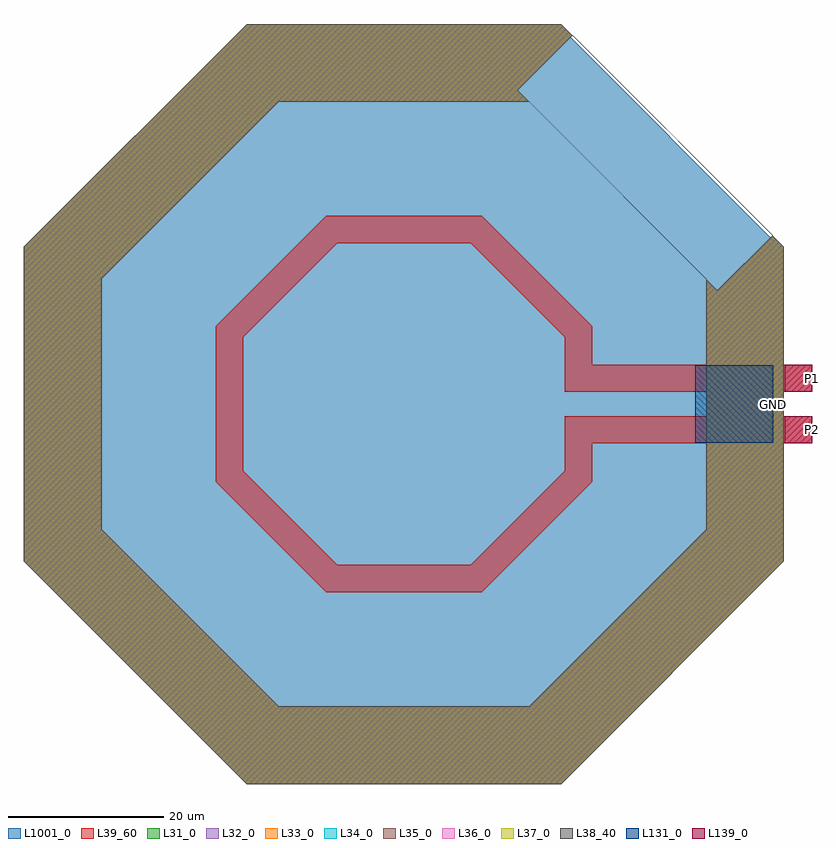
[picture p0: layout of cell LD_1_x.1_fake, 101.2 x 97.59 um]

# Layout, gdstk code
import gdstk
lib = gdstk.Library(unit=1e-6, precision=1e-09)
def R(c, l, rs):  # rectangles x0, y0, x1, y1
    for r in rs: c.add(gdstk.rectangle(r[:2], r[2:], *l))
def P(c, l, *ps):  # polygons
    for p in ps: c.add(gdstk.Polygon(p, *l))
L31_0 = (31, 0)
L32_0 = (32, 0)
L33_0 = (33, 0)
L34_0 = (34, 0)
L35_0 = (35, 0)
L36_0 = (36, 0)
L37_0 = (37, 0)
L38_40 = (38, 40)
L39_60 = (39, 60)
L131_0 = (131, 0)
L139_0 = (139, 0)
L1001_0 = (1001, 0)

ld_1_x_1_fake = lib.new_cell('LD_1_x.1_fake')
P(ld_1_x_1_fake, L31_0, [(40.26,14.605),(47.331,21.676),(20.212,48.796),(-20.212,48.796),(-48.796,20.212),(-48.796,-20.212),(-20.212,-48.796),(20.212,-48.796),(48.796,-20.212),(48.796,20.212),(21.676,47.331),(14.605,40.26),(38.796,16.07),(38.796,-16.07),(16.07,-38.796),(-16.07,-38.796),(-38.796,-16.07),(-38.796,16.07),(-16.07,38.796),(16.07,38.796)])
P(ld_1_x_1_fake, L32_0, [(40.26,14.605),(47.331,21.676),(20.212,48.796),(-20.212,48.796),(-48.796,20.212),(-48.796,-20.212),(-20.212,-48.796),(20.212,-48.796),(48.796,-20.212),(48.796,20.212),(21.676,47.331),(14.605,40.26),(38.796,16.07),(38.796,-16.07),(16.07,-38.796),(-16.07,-38.796),(-38.796,-16.07),(-38.796,16.07),(-16.07,38.796),(16.07,38.796)])
P(ld_1_x_1_fake, L33_0, [(40.26,14.605),(47.331,21.676),(20.212,48.796),(-20.212,48.796),(-48.796,20.212),(-48.796,-20.212),(-20.212,-48.796),(20.212,-48.796),(48.796,-20.212),(48.796,20.212),(21.676,47.331),(14.605,40.26),(38.796,16.07),(38.796,-16.07),(16.07,-38.796),(-16.07,-38.796),(-38.796,-16.07),(-38.796,16.07),(-16.07,38.796),(16.07,38.796)])
P(ld_1_x_1_fake, L34_0, [(40.26,14.605),(47.331,21.676),(20.212,48.796),(-20.212,48.796),(-48.796,20.212),(-48.796,-20.212),(-20.212,-48.796),(20.212,-48.796),(48.796,-20.212),(48.796,20.212),(21.676,47.331),(14.605,40.26),(38.796,16.07),(38.796,-16.07),(16.07,-38.796),(-16.07,-38.796),(-38.796,-16.07),(-38.796,16.07),(-16.07,38.796),(16.07,38.796)])
P(ld_1_x_1_fake, L35_0, [(40.26,14.605),(47.331,21.676),(20.212,48.796),(-20.212,48.796),(-48.796,20.212),(-48.796,-20.212),(-20.212,-48.796),(20.212,-48.796),(48.796,-20.212),(48.796,20.212),(21.676,47.331),(14.605,40.26),(38.796,16.07),(38.796,-16.07),(16.07,-38.796),(-16.07,-38.796),(-38.796,-16.07),(-38.796,16.07),(-16.07,38.796),(16.07,38.796)])
P(ld_1_x_1_fake, L36_0, [(40.26,14.605),(47.331,21.676),(20.212,48.796),(-20.212,48.796),(-48.796,20.212),(-48.796,-20.212),(-20.212,-48.796),(20.212,-48.796),(48.796,-20.212),(48.796,20.212),(21.676,47.331),(14.605,40.26),(38.796,16.07),(38.796,-16.07),(16.07,-38.796),(-16.07,-38.796),(-38.796,-16.07),(-38.796,16.07),(-16.07,38.796),(16.07,38.796)])
P(ld_1_x_1_fake, L37_0, [(40.26,14.605),(47.331,21.676),(20.212,48.796),(-20.212,48.796),(-48.796,20.212),(-48.796,-20.212),(-20.212,-48.796),(20.212,-48.796),(48.796,-20.212),(48.796,20.212),(21.676,47.331),(14.605,40.26),(38.796,16.07),(38.796,-16.07),(16.07,-38.796),(-16.07,-38.796),(-38.796,-16.07),(-38.796,16.07),(-16.07,38.796),(16.07,38.796)])
P(ld_1_x_1_fake, L38_40, [(40.26,14.605),(47.331,21.676),(20.212,48.796),(-20.212,48.796),(-48.796,20.212),(-48.796,-20.212),(-20.212,-48.796),(20.212,-48.796),(48.796,-20.212),(48.796,20.212),(21.676,47.331),(14.605,40.26),(38.796,16.07),(38.796,-16.07),(16.07,-38.796),(-16.07,-38.796),(-38.796,-16.07),(-38.796,16.07),(-16.07,38.796),(16.07,38.796)])
R(ld_1_x_1_fake, L39_60, [(20.655,-5.06,52.405,-1.56), (20.655,1.56,52.405,5.06)])
P(ld_1_x_1_fake, L39_60, [(20.655,3.31),(24.155,3.31),(24.155,10.005),(10.005,24.155),(-10.005,24.155),(-24.155,10.005),(-24.155,-10.005),(-10.005,-24.155),(10.005,-24.155),(24.155,-10.005),(24.155,-3.31),(20.655,-3.31),(20.655,-8.555),(8.555,-20.655),(-8.555,-20.655),(-20.655,-8.555),(-20.655,8.555),(-8.555,20.655),(8.555,20.655),(20.655,8.555)],
  [(40.26,14.605),(47.331,21.676),(20.212,48.796),(-20.212,48.796),(-48.796,20.212),(-48.796,-20.212),(-20.212,-48.796),(20.212,-48.796),(48.796,-20.212),(48.796,20.212),(21.676,47.331),(14.605,40.26),(38.796,16.07),(38.796,-16.07),(16.07,-38.796),(-16.07,-38.796),(-38.796,-16.07),(-38.796,16.07),(-16.07,38.796),(16.07,38.796)])
R(ld_1_x_1_fake, L131_0, [(37.405,-5,47.405,5)])
R(ld_1_x_1_fake, L139_0, [(48.905,-5.06,52.405,-1.56), (48.905,1.56,52.405,5.06)])
P(ld_1_x_1_fake, L1001_0, [(48.415,20.054),(20.054,48.415),(-20.054,48.415),(-48.415,20.054),(-48.415,-20.054),(-20.054,-48.415),(20.054,-48.415),(48.415,-20.054)],
  [(48.415,20.054),(20.054,48.415),(-20.054,48.415),(-48.415,20.054),(-48.415,-20.054),(-20.054,-48.415),(20.054,-48.415),(48.415,-20.054)],
  [(48.415,20.054),(20.054,48.415),(-20.054,48.415),(-48.415,20.054),(-48.415,-20.054),(-20.054,-48.415),(20.054,-48.415),(48.415,-20.054)],
  [(48.415,20.054),(20.054,48.415),(-20.054,48.415),(-48.415,20.054),(-48.415,-20.054),(-20.054,-48.415),(20.054,-48.415),(48.415,-20.054)],
  [(48.415,20.054),(20.054,48.415),(-20.054,48.415),(-48.415,20.054),(-48.415,-20.054),(-20.054,-48.415),(20.054,-48.415),(48.415,-20.054)],
  [(48.415,20.054),(20.054,48.415),(-20.054,48.415),(-48.415,20.054),(-48.415,-20.054),(-20.054,-48.415),(20.054,-48.415),(48.415,-20.054)],
  [(48.415,20.054),(20.054,48.415),(-20.054,48.415),(-48.415,20.054),(-48.415,-20.054),(-20.054,-48.415),(20.054,-48.415),(48.415,-20.054)],
  [(48.415,20.054),(20.054,48.415),(-20.054,48.415),(-48.415,20.054),(-48.415,-20.054),(-20.054,-48.415),(20.054,-48.415),(48.415,-20.054)],
  [(48.415,20.054),(20.054,48.415),(-20.054,48.415),(-48.415,20.054),(-48.415,-20.054),(-20.054,-48.415),(20.054,-48.415),(48.415,-20.054)])
ld_1_x_1_fake.add(gdstk.Label('P1', (52.404,3.312), layer=139, texttype=0))
ld_1_x_1_fake.add(gdstk.Label('P2', (52.404,-3.312), layer=139, texttype=0))
ld_1_x_1_fake.add(gdstk.Label('GND', (47.404,0), layer=131, texttype=0))

lib.write_gds('LD_1_x.1_fake.gds')
